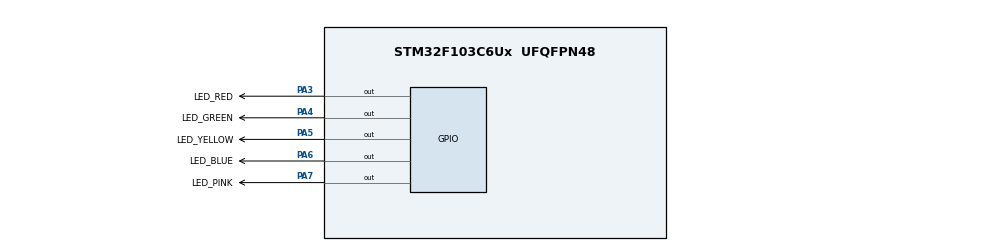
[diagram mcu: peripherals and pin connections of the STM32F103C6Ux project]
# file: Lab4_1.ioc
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Mcu.Family=STM32F1
Mcu.Name=STM32F103C6Ux
Mcu.Package=UFQFPN48
NVIC.PriorityGroup=NVIC_PRIORITYGROUP_4
NVIC.TIM2_IRQn=true\:0\:0\:false\:false\:true\:true\:true\:true
PA3.GPIO_Label=LED_RED
PA3.Signal=GPIO_Output
PA4.GPIO_Label=LED_GREEN
PA4.Signal=GPIO_Output
PA5.GPIO_Label=LED_YELLOW
PA5.Signal=GPIO_Output
PA6.GPIO_Label=LED_BLUE
PA6.Signal=GPIO_Output
PA7.GPIO_Label=LED_PINK
PA7.Signal=GPIO_Output
ProjectManager.HeapSize=0x200
ProjectManager.StackSize=0x400
ProjectManager.TargetToolchain=STM32CubeIDE
RCC.APB1Freq_Value=8000000
RCC.APB2Freq_Value=8000000
TIM2.Period=9
TIM2.Prescaler=7999
VP_TIM2_VS_ClockSourceINT.Mode=Internal
board=custom

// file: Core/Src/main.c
/* USER CODE BEGIN Header */
/**
 ******************************************************************************
 * @file           : main.c
 * @brief          : Main program body
 ******************************************************************************
 * @attention
 *
 * Copyright (c) 2023 STMicroelectronics.
 * All rights reserved.
 *
 * This software is licensed under terms that can be found in the LICENSE file
 * in the root directory of this software component.
 * If no LICENSE file comes with this software, it is provided AS-IS.
 *
 ******************************************************************************
 */
/* USER CODE END Header */
#include "main.h"

/* USER CODE BEGIN Includes */
#include "scheduler.h"
/* USER CODE END Includes */

TIM_HandleTypeDef htim2;

void SystemClock_Config(void);
static void MX_GPIO_Init(void);
static void MX_TIM2_Init(void);

/* USER CODE BEGIN 0 */
void toggleRed() {
	HAL_GPIO_TogglePin(LED_RED_GPIO_Port, LED_RED_Pin);
}

void toggleGreen() {
	HAL_GPIO_TogglePin(LED_GREEN_GPIO_Port, LED_GREEN_Pin);
}

void toggleYellow() {
	HAL_GPIO_TogglePin(LED_YELLOW_GPIO_Port, LED_YELLOW_Pin);
}

void toggleBlue() {
	HAL_GPIO_TogglePin(LED_BLUE_GPIO_Port, LED_BLUE_Pin);
}

void togglePink() {
	HAL_GPIO_TogglePin(LED_PINK_GPIO_Port, LED_PINK_Pin);
}
/* USER CODE END 0 */

int main(void) {

	/* MCU Configuration--------------------------------------------------------*/

	/* Reset of all peripherals, Initializes the Flash interface and the Systick. */
	HAL_Init();

	/* Configure the system clock */
	SystemClock_Config();

	/* Initialize all configured peripherals */
	MX_GPIO_Init();
	MX_TIM2_Init();
	/* USER CODE BEGIN 2 */
	HAL_TIM_Base_Start_IT(&htim2);
	/* USER CODE END 2 */

	/* Infinite loop */
	/* USER CODE BEGIN WHILE */
	SCH_Add_Task(toggleRed, 0, 0);
	SCH_Add_Task(toggleGreen,100, 0);
	SCH_Add_Task(toggleYellow, 200, 0);
	SCH_Add_Task(toggleBlue, 300, 0);
	SCH_Add_Task(togglePink, 400, 0);
	while (1) {
		SCH_Dispatch_Task();
		/* USER CODE END WHILE */

	}
}

void SystemClock_Config(void) {
	RCC_OscInitTypeDef RCC_OscInitStruct = { 0 };
	RCC_ClkInitTypeDef RCC_ClkInitStruct = { 0 };

	/** Initializes the RCC Oscillators according to the specified parameters
	 * in the RCC_OscInitTypeDef structure.
	 */
	RCC_OscInitStruct.OscillatorType = RCC_OSCILLATORTYPE_HSI;
	RCC_OscInitStruct.HSIState = RCC_HSI_ON;
	RCC_OscInitStruct.HSICalibrationValue = RCC_HSICALIBRATION_DEFAULT;
	RCC_OscInitStruct.PLL.PLLState = RCC_PLL_NONE;
	if (HAL_RCC_OscConfig(&RCC_OscInitStruct) != HAL_OK) {
		Error_Handler();
	}

	/** Initializes the CPU, AHB and APB buses clocks
	 */
	RCC_ClkInitStruct.ClockType = RCC_CLOCKTYPE_HCLK | RCC_CLOCKTYPE_SYSCLK
			| RCC_CLOCKTYPE_PCLK1 | RCC_CLOCKTYPE_PCLK2;
	RCC_ClkInitStruct.SYSCLKSource = RCC_SYSCLKSOURCE_HSI;
	RCC_ClkInitStruct.AHBCLKDivider = RCC_SYSCLK_DIV1;
	RCC_ClkInitStruct.APB1CLKDivider = RCC_HCLK_DIV1;
	RCC_ClkInitStruct.APB2CLKDivider = RCC_HCLK_DIV1;

	if (HAL_RCC_ClockConfig(&RCC_ClkInitStruct, FLASH_LATENCY_0) != HAL_OK) {
		Error_Handler();
	}
}

static void MX_TIM2_Init(void) {

	TIM_ClockConfigTypeDef sClockSourceConfig = { 0 };
	TIM_MasterConfigTypeDef sMasterConfig = { 0 };

	htim2.Instance = TIM2;
	htim2.Init.Prescaler = 7999;
	htim2.Init.CounterMode = TIM_COUNTERMODE_UP;
	htim2.Init.Period = 9;
	htim2.Init.ClockDivision = TIM_CLOCKDIVISION_DIV1;
	htim2.Init.AutoReloadPreload = TIM_AUTORELOAD_PRELOAD_DISABLE;
	if (HAL_TIM_Base_Init(&htim2) != HAL_OK) {
		Error_Handler();
	}
	sClockSourceConfig.ClockSource = TIM_CLOCKSOURCE_INTERNAL;
	if (HAL_TIM_ConfigClockSource(&htim2, &sClockSourceConfig) != HAL_OK) {
		Error_Handler();
	}
	sMasterConfig.MasterOutputTrigger = TIM_TRGO_RESET;
	sMasterConfig.MasterSlaveMode = TIM_MASTERSLAVEMODE_DISABLE;
	if (HAL_TIMEx_MasterConfigSynchronization(&htim2, &sMasterConfig)
			!= HAL_OK) {
		Error_Handler();
	}

}

static void MX_GPIO_Init(void) {
	GPIO_InitTypeDef GPIO_InitStruct = { 0 };

	/* GPIO Ports Clock Enable */
	__HAL_RCC_GPIOA_CLK_ENABLE();

	/*Configure GPIO pin Output Level */
	HAL_GPIO_WritePin(GPIOA,
			LED_RED_Pin | LED_GREEN_Pin | LED_YELLOW_Pin | LED_BLUE_Pin
					| LED_PINK_Pin, GPIO_PIN_RESET);

	/*Configure GPIO pins : LED_RED_Pin LED_GREEN_Pin LED_YELLOW_Pin LED_BLUE_Pin
	 LED_PINK_Pin */
	GPIO_InitStruct.Pin = LED_RED_Pin | LED_GREEN_Pin | LED_YELLOW_Pin
			| LED_BLUE_Pin | LED_PINK_Pin;
	GPIO_InitStruct.Mode = GPIO_MODE_OUTPUT_PP;
	GPIO_InitStruct.Pull = GPIO_NOPULL;
	GPIO_InitStruct.Speed = GPIO_SPEED_FREQ_LOW;
	HAL_GPIO_Init(GPIOA, &GPIO_InitStruct);

}

/* USER CODE BEGIN 4 */
void HAL_TIM_PeriodElapsedCallback(TIM_HandleTypeDef *htim) {
	SCH_Update();
}
/* USER CODE END 4 */

void Error_Handler(void) {
	__disable_irq();
	while (1) {
	}
}
